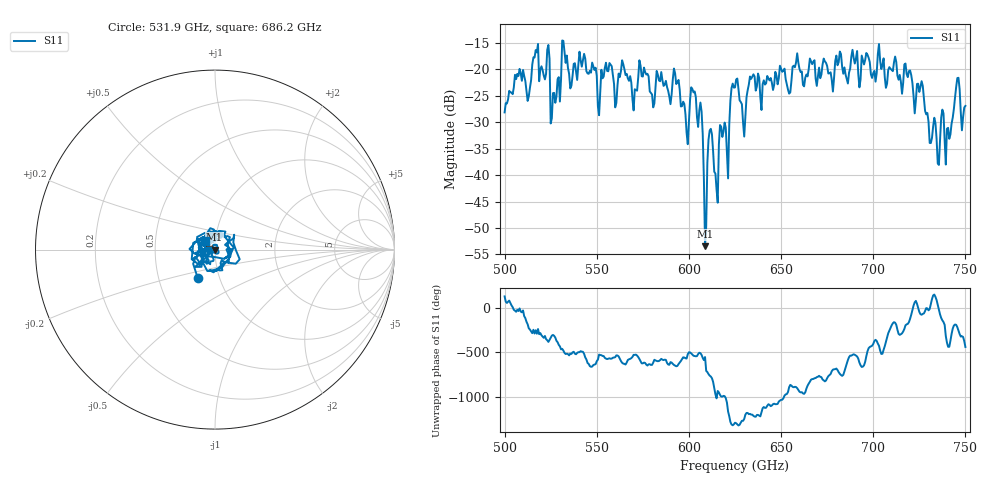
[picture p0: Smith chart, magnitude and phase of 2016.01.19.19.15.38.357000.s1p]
!Created with skrf (http://scikit-rf.org).
# GHz S RI R 50.0
!freq ReS11 ImS11
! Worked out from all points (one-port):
!   401 points, 500 GHz to 750 GHz, reference 50 ohm
!   lowest |S11| = -53.5 dB at 608.8 GHz (marker M1), VSWR 1.00, Z = 49.8 + j0.0489 ohm
!   |S11| at or under -10 dB: start of sweep to end of sweep
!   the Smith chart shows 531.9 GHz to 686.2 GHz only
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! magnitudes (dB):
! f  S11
! 500 GHz  -28.1
! 506.9 GHz  -20.8
! 513.1 GHz  -25.1
! 516.9 GHz  -16.3
! 523.1 GHz  -16.3
! 526.2 GHz  -24.5
! 531.2 GHz  -14.5
! 551.9 GHz  -24.2
! 562.5 GHz  -21.4
! 570.6 GHz  -23.7
! 574.4 GHz  -21.3
! 593.8 GHz  -22.4
! 598.8 GHz  -32.0
! 602.5 GHz  -24.3
! 606.2 GHz  -26.3
! 608.8 GHz  -53.5
! 611.2 GHz  -31.6
! 615 GHz  -42.8
! 625 GHz  -23.4
! 629.4 GHz  -30.1
! 634.4 GHz  -21.4
! 656.2 GHz  -19.5
! 687.5 GHz  -19.8
! 718.8 GHz  -21.5
! 735 GHz  -37.8
! 740.6 GHz  -31.1
! 745.6 GHz  -21.6
! 750 GHz  -26.9
